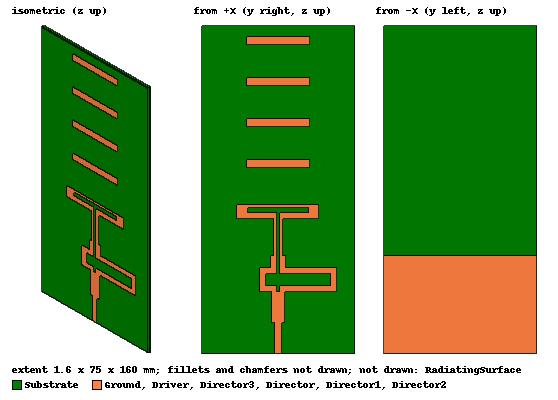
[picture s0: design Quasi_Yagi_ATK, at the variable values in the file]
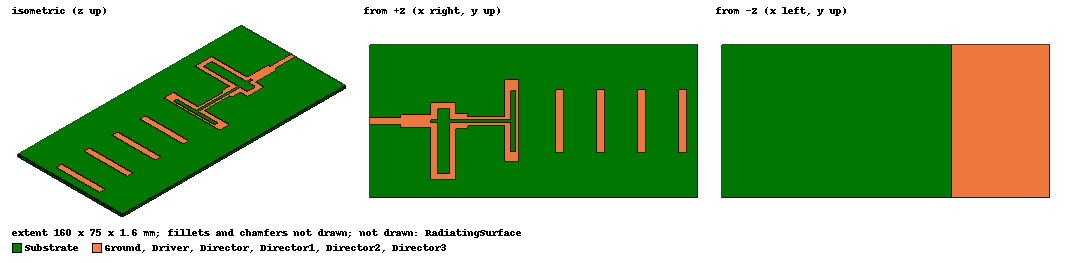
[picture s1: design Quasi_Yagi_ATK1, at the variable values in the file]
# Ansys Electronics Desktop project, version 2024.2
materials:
  vacuum: permittivity=1
  FR4_epoxy: permittivity=4.4 dielectric_loss_tangent=0.02

design Quasi_Yagi_ATK (HFSS, HFSS Hybrid Terminal Network, model units mm)
options: Allow_Material_Override Save_Adaptive_support_files open_region{BoundaryType=0 OpFreq=2.4GHz}
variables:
  # --Width Dimensions
  Wdir = 4mm
  Wdri = 3mm
  W1 = 3mm
  W2 = 6mm
  W3 = 3mm
  W4 = 3mm
  W5 = 3mm
  W6 = 1.5mm
  # --Length Dimensions
  Ldir = 15.5mm
  Ldri = 40mm
  L1 = 16.5mm
  L2 = 7.5mm
  L3 = 24mm
  L4 = 9mm
  L5 = 7.5mm
  # --Spacing Dimensions
  Sdir = 15mm
  Sref = 19.5mm
  Ssub = 7.5mm
  S5 = 1.5mm
  S6 = 1.5mm
  # --Substrate Dimensions
  Substrate_Th = 1.6mm
  Substrate_Width = 75mm
  Wg = 2.3mm
  Wdrif = 1.5mm
  t = 5.2mm
  L_ext_submm = 50mm
  Lin = 5*W1
  dist = Wdir*2.5
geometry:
  Substrate [FR4_epoxy] = box(corner=(0mm, -Substrate_Width/2, L_ext_submm+0.02), size=(-Substrate_Th, Substrate_Width, -(Ssub+Sdir+Sref+L5+L4+L1+5*W1+L_ext_submm+0.02)))
  Ground = rectangle(corner=(-Substrate_Th, -Substrate_Width/2, -(L5+L4+L1+5*W1)-Ssub-Sdir-Sref), y_size=Substrate_Width, z_size=(L5+L4+L1+5*W1))
  Director = rectangle(corner=(0mm, -Ldir, (-Wdir/2)-Ssub), y_size=2*Ldir, z_size=Wdir)
  Driver = rectangle(corner=(0mm, -Ldri/2, (-Wdri/2)-Ssub-Sdir), y_size=Ldri, z_size=Wdri)
  NewObject_V5RKLE = rectangle(corner=(0mm, -S6/2, (-Wdri/2)-Ssub-Sdir), y_size=S6, z_size=Wdri)
  NewObject_F6RTJB = rectangle(corner=(0mm, -(2*W6+S6)/2, -Ssub-Sdir-Sref), y_size=(2*W6+S6), z_size=Sref)
  NewObject_SG5QR2 = rectangle(corner=(0mm, -S6/2, -Ssub-Sdir-Sref), y_size=S6, z_size=Sref)
  NewObject_EMN5YW = rectangle(corner=(0mm, -(2*W5+S5)/2, (W3/2)-sSub-Sdir-Sref-L5), y_size=(2*W5+S5), z_size=L5-(W3/2))
  NewObject_7SITFQ = rectangle(corner=(0mm, -S5/2, -sSub-Sdir-Sref-L5), y_size=S5, z_size=L5)
  NewObject_45ZM98 = rectangle(corner=(0mm, -S5/2, (-W3/2)-sSub-Sdir-Sref-L5), y_size=S5, z_size=W3)
  NewObject_ZHL5UQ = rectangle(corner=(0mm, -(L2+W4/2), (-W3/2)-Ssub-Sdir-Sref-L5), y_size=L2+L3+2*W4, z_size=W3)
  NewObject_W50Y14 = rectangle(corner=(0mm, -(S5/2), (-W3/2)-Ssub-Sdir-Sref-L5-L4), y_size=S5, z_size=W3)
  NewObject_KIPWVM = rectangle(corner=(0mm, -(L2+W4/2), (-W3/2)-Ssub-Sdir-Sref-L5-L4), y_size=L2+L3+2*W4, z_size=W3)
  NewObject_EW9ZM6 = rectangle(corner=(0mm, -(L2+W4/2), (-W3/2)-Ssub-Sdir-Sref-L5-L4), y_size=W4, z_size=L2+1.5*W3)
  NewObject_6TZ5XM = rectangle(corner=(0mm, (L3+W4/2), (-W3/2)-Ssub-Sdir-Sref-L5-L4), y_size=W4, z_size=L2+1.5*W3)
  NewObject_ZHL5UQ.unite(NewObject_KIPWVM, NewObject_EW9ZM6, NewObject_6TZ5XM)
  NewObject_ZHL5UQ.subtract(NewObject_45ZM98, NewObject_W50Y14)
  NewObject_ZHL5UQ1 = rectangle(corner=(0mm, -(L2+W4/2), (-W3/2)-Ssub-Sdir-Sref-L5), y_size=L2+L3+2*W4, z_size=W3)
  NewObject_KIPWVM1 = rectangle(corner=(0mm, -(L2+W4/2), (-W3/2)-Ssub-Sdir-Sref-L5-L4), y_size=L2+L3+2*W4, z_size=W3)
  NewObject_EW9ZM7 = rectangle(corner=(0mm, -(L2+W4/2), (-W3/2)-Ssub-Sdir-Sref-L5-L4), y_size=W4, z_size=L2+1.5*W3)
  NewObject_6TZ5XM1 = rectangle(corner=(0mm, (L3+W4/2), (-W3/2)-Ssub-Sdir-Sref-L5-L4), y_size=W4, z_size=L2+1.5*W3)
  NewObject_ZHL5UQ1.unite(NewObject_KIPWVM1, NewObject_EW9ZM7, NewObject_6TZ5XM1)
  NewObject_45ZM99 = rectangle(corner=(0mm, -S5/2, (-W3/2)-sSub-Sdir-Sref-L5), y_size=S5, z_size=W3)
  NewObject_W50Y15 = rectangle(corner=(0mm, -(S5/2), (-W3/2)-Ssub-Sdir-Sref-L5-L4), y_size=S5, z_size=W3)
  NewObject_ZHL5UQ1.subtract(NewObject_45ZM99, NewObject_W50Y15)
  NewObject_ZHL5UQ.thicken(1mm)
  NewObject_ZHL5UQ.chamfer(Edges=NewObject_ZHL5UQ.edge(at (0.5, -9, -60), at (0.5, -9, -48), at (0.5, 28.5, -60), at (0.5, 28.5, -48)) LeftDistance=W4 RightDistance=W4 ChamferType=Symmetric ChamferAdditionalGeometryInfo{ChamferEdgeGeometryInfo{ChamferEdgeID=354 ChamferEdgeSense ChamferEdgeStart{X=4.8243679e-16mm Y=-9mm Z=-48mm} ChamferEdgeEnd{X=1mm Y=-9mm Z=-48mm} ChamferEdgeMid{X=0.5mm Y=-9mm Z=-48mm} ChamferEdgeMidTangent(1, -6.123234e-17, -1.6081226e-16)} ChamferEdgeGeometryInfo{ChamferEdgeID=355 ChamferEdgeSense ChamferEdgeStart{X=0mm Y=-9mm Z=-60mm} ChamferEdgeEnd{X=1mm Y=-9mm Z=-60mm} ChamferEdgeMid{X=0.5mm Y=-9mm Z=-60mm} ChamferEdgeMidTangent(1, -6.123234e-17, -1.6081226e-16)} ChamferEdgeGeometryInfo{ChamferEdgeID=358 ChamferEdgeSense ChamferEdgeStart{X=2.2962127e-15mm Y=28.5mm Z=-60mm} ChamferEdgeEnd{X=1mm Y=28.5mm Z=-60mm} ChamferEdgeMid{X=0.5mm Y=28.5mm Z=-60mm} ChamferEdgeMidTangent(1, -6.123234e-17, -1.6081226e-16)} ChamferEdgeGeometryInfo{ChamferEdgeID=359 ChamferEdgeSense ChamferEdgeStart{X=2.7786495e-15mm Y=28.5mm Z=-48mm} ChamferEdgeEnd{X=1mm Y=28.5mm Z=-48mm} ChamferEdgeMid{X=0.5mm Y=28.5mm Z=-48mm} ChamferEdgeMidTangent(1, -6.123234e-17, -1.6081226e-16)}})
  NewObject_ZHL5UQ.chamfer(Edges=NewObject_ZHL5UQ.edge(at (0.5, -0.75, -51), at (0.5, 0.75, -51), at (0.5, -0.75, -57), at (0.5, 0.75, -57)) LeftDistance=W3 RightDistance=W3 ChamferType=Symmetric ChamferAdditionalGeometryInfo{ChamferEdgeGeometryInfo{ChamferEdgeID=352 ChamferEdgeSense ChamferEdgeStart{X=5.051668e-16mm Y=-0.75mm Z=-51mm} ChamferEdgeEnd{X=1mm Y=-0.75mm Z=-51mm} ChamferEdgeMid{X=0.5mm Y=-0.75mm Z=-51mm} ChamferEdgeMidTangent(1, -6.123234e-17, -1.6081226e-16)} ChamferEdgeGeometryInfo{ChamferEdgeID=357 ChamferEdgeSense ChamferEdgeStart{X=9.876036e-16mm Y=-0.75mm Z=-57mm} ChamferEdgeEnd{X=1mm Y=-0.75mm Z=-57mm} ChamferEdgeMid{X=0.5mm Y=-0.75mm Z=-57mm} ChamferEdgeMidTangent(1, -6.123234e-17, -1.6081226e-16)} ChamferEdgeGeometryInfo{ChamferEdgeID=361 ChamferEdgeSense ChamferEdgeStart{X=5.9701531e-16mm Y=0.75mm Z=-51mm} ChamferEdgeEnd{X=1mm Y=0.75mm Z=-51mm} ChamferEdgeMid{X=0.5mm Y=0.75mm Z=-51mm} ChamferEdgeMidTangent(1, -6.123234e-17, -1.6081226e-16)} ChamferEdgeGeometryInfo{ChamferEdgeID=364 ChamferEdgeSense ChamferEdgeStart{X=1.0794521e-15mm Y=0.75mm Z=-57mm} ChamferEdgeEnd{X=1mm Y=0.75mm Z=-57mm} ChamferEdgeMid{X=0.5mm Y=0.75mm Z=-57mm} ChamferEdgeMidTangent(1, -6.123234e-17, -1.6081226e-16)}})
  NewObject_ZHL5UQ1.intersect(NewObject_ZHL5UQ)
  NewObject_VFZ2K0 = rectangle(corner=(0mm, -W2/2, -Ssub-Sdir-Sref-L5-L4-L1), y_size=W2, z_size=L1-(W3/2))
  NewObject_8FXIJ2 = rectangle(corner=(0mm, -W1/2, -5*W1-Ssub-Sdir-Sref-L5-L4-L1), y_size=W1, z_size=Lin)
  Driver.unite(NewObject_F6RTJB, NewObject_EMN5YW, NewObject_VFZ2K0, NewObject_8FXIJ2, NewObject_ZHL5UQ1)
  Driver.subtract(NewObject_V5RKLE, NewObject_SG5QR2, NewObject_7SITFQ)
  port1 = rectangle(corner=(0mm, -W1/2, -5*W1-Ssub-Sdir-Sref-L5-L4-L1), x_size=-Substrate_Th, y_size=W1)
  RadiatingSurface [vacuum] = region(absolute_offset=41.666667mm on all sides)
  Driver1 = rectangle(corner=(0mm, -Ldri/2, (Wdri/2)-Ssub-Sdir+Wg), y_size=Ldri, z_size=Wdrif)
  coordinate_system RelativeCS1 = origin=(0mm, -Ldri/2, -Ssub-Sdir+Wdri/2+Wg+Wdrif) x=(1mm, 0mm, 0mm) y=(0mm, 1mm, 0mm)
  Rectangle1 = rectangle(corner=(0mm, 0mm, 0mm), y_size=t, z_size=-Wdrif-Wg-Wdri) in RelativeCS1
  Rectangle2 = rectangle(corner=(0mm, 0mm, 0mm), y_size=t, z_size=-Wdrif-Wg-Wdri) in RelativeCS1
  Rectangle2.mirror(point=(0mm, 0mm, 0mm), normal=(0mm, 1mm, 0mm))
  Driver.unite(Driver1, Rectangle1, Rectangle2)
  Director1 = rectangle(corner=(0mm, -Ldir, (-Wdir/2)-Ssub+dist+dist), y_size=2*Ldir, z_size=Wdir)
  Director2 = rectangle(corner=(0mm, -Ldir, (-Wdir/2)-Ssub+2*dist + 2*dist), y_size=2*Ldir, z_size=Wdir)
  Director3 = rectangle(corner=(0mm, -Ldir, (-Wdir/2)-Ssub+3*dist + 3*dist), y_size=2*Ldir, z_size=Wdir)
  [Director, Director1, Director2, Director3].move(0mm, 0mm, 10mm)
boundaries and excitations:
  antennaMetal: Perfect E Objects=[Director, Driver]
  groundMetal: Perfect E Objects=Ground
  AutoOpen1: Radiation Objects=RadiatingSurface
  dirMetal: Perfect E Objects=[Director1, Director2, Director3]
  Driver_T1: Terminal port=1 Edges=Driver.edge(at (0, 0, -90)) TerminalResistance=50ohm
  1: Lumped Port Faces=port1.face LumpedPortType=Terminal Impedance=50ohm
  reference conductors: Ground
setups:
  ATK_Solution: HfssDriven Frequency=2.4GHz MaxDeltaS=0.02 MaximumPasses=15 MinimumPasses=1 MinimumConvergedPasses=1 PercentRefinement=30 BasisOrder=1 PortAccuracy=2 DrivenSolverType="Direct Solver" IESolverType=ACA
    sweep FF_Sweep: 1.2GHz to 3.6GHz, 3 points; disabled Type=Discrete SaveFields
    sweep SParam_Sweep: 1.2GHz to 3.6GHz, 100 points; Type=Interpolating InterpTolerance=0.5 InterpMaxSolns=250 PassivityErrorTolerance=0.0001
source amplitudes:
  1:1: 1 0deg
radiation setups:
  3D: Infinite Sphere Theta=0deg..180deg step 2deg Phi=-180deg..180deg step 2deg
  Elevation: Infinite Sphere Theta=-180deg..180deg step 1deg Phi=0deg..90deg step 90deg
  Azimuth: Infinite Sphere Theta=90deg..90deg step 0deg Phi=-180deg..180deg step 1deg
  ATK_2D: Infinite Sphere Theta=-180deg..180deg step 1deg Phi=0deg..90deg step 90deg
  ATK_3D: Infinite Sphere Theta=-180deg..180deg step 2deg Phi=0deg..180deg step 5deg
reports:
  ff_3D_GainTotal: dB(GainTotal) vs Phi, Theta on ATK_Solution : LastAdaptive, ATK_3D [Freq=2.4e+09]
  ff_2D_GainTotal: dB(GainTotal) vs Theta on ATK_Solution : LastAdaptive, ATK_2D [Phi=all Freq=2.4e+09]
  ff_2D_GainTotal_Stacked: dB(GainTotal) vs Theta on ATK_Solution : FF_Sweep, ATK_2D [Phi=all Freq=all]
  Return Loss: dB(St11) vs Freq on ATK_Solution : SParam_Sweep; dB(St11) vs Freq on ATK_Solution : SParam_Sweep [W2=all]; markers m1 at 2.2424242GHz, m2 at 2.2666667GHz, m3 at 2.8242424GHz, m4 at 2.841037GHz
  Input Impedance: St11 on ATK_Solution : SParam_Sweep [Freq=all]
  Gain Plot 1: GainTotal vs Theta, Phi on ATK_Solution : LastAdaptive, 3D [Freq=2.4GHz W2=4mm]
  Gain Plot 2: GainTotal vs Phi, Theta on ATK_Solution : LastAdaptive, 3D [Freq=2.4GHz W2=4mm]
  Gain Plot 3: dB(GainTotal) vs Theta on ATK_Solution : LastAdaptive, 3D [Phi=all Freq=2.4GHz W2=all]
  Gain Plot 4: dB(GainTotal) vs Phi, Theta on ATK_Solution : LastAdaptive, 3D [Freq=2.4GHz W2=4mm]
  Terminal S Parameter Plot 1: dB(St(Driver_T1,Driver_T1)) vs Freq on ATK_Solution : FF_Sweep [W2=all]

design Quasi_Yagi_ATK1 (HFSS, HFSS Hybrid Terminal Network, model units mm)
options: Allow_Material_Override Save_Adaptive_support_files open_region{BoundaryType=0 OpFreq=2.4GHz}
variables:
  # --Width Dimensions
  Wdir = 4mm
  Wdri = 3mm
  W1 = 3mm
  W2 = 6mm
  W3 = 3mm
  W4 = 3mm
  W5 = 3mm
  W6 = 1.5mm
  # --Length Dimensions
  Ldir = 15.5mm
  Ldri = 40mm
  L1 = 16.5mm
  L2 = 7.5mm
  L3 = 24mm
  L4 = 9mm
  L5 = 7.5mm
  # --Spacing Dimensions
  Sdir = 15mm
  Sref = 19.5mm
  Ssub = 7.5mm
  S5 = 1.5mm
  S6 = 1.5mm
  # --Substrate Dimensions
  Substrate_Th = 1.6mm
  Substrate_Width = 75mm
  Wg = 2.3mm
  Wdrif = 1.5mm
  t = 5.2mm
  L_ext_submm = 50mm
  Lin = 5*W1
  dist = Wdir*2.5
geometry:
  Substrate [FR4_epoxy] = box(corner=(0mm, -Substrate_Width/2, L_ext_submm+0.02), size=(-Substrate_Th, Substrate_Width, -(Ssub+Sdir+Sref+L5+L4+L1+5*W1+L_ext_submm+0.02)))
  Ground = rectangle(corner=(-Substrate_Th, -Substrate_Width/2, -(L5+L4+L1+5*W1)-Ssub-Sdir-Sref), y_size=Substrate_Width, z_size=(L5+L4+L1+5*W1))
  Director = rectangle(corner=(0mm, -Ldir, (-Wdir/2)-Ssub), y_size=2*Ldir, z_size=Wdir)
  Driver = rectangle(corner=(0mm, -Ldri/2, (-Wdri/2)-Ssub-Sdir), y_size=Ldri, z_size=Wdri)
  NewObject_V5RKLE = rectangle(corner=(0mm, -S6/2, (-Wdri/2)-Ssub-Sdir), y_size=S6, z_size=Wdri)
  NewObject_F6RTJB = rectangle(corner=(0mm, -(2*W6+S6)/2, -Ssub-Sdir-Sref), y_size=(2*W6+S6), z_size=Sref)
  NewObject_SG5QR2 = rectangle(corner=(0mm, -S6/2, -Ssub-Sdir-Sref), y_size=S6, z_size=Sref)
  NewObject_EMN5YW = rectangle(corner=(0mm, -(2*W5+S5)/2, (W3/2)-sSub-Sdir-Sref-L5), y_size=(2*W5+S5), z_size=L5-(W3/2))
  NewObject_7SITFQ = rectangle(corner=(0mm, -S5/2, -sSub-Sdir-Sref-L5), y_size=S5, z_size=L5)
  NewObject_45ZM98 = rectangle(corner=(0mm, -S5/2, (-W3/2)-sSub-Sdir-Sref-L5), y_size=S5, z_size=W3)
  NewObject_ZHL5UQ = rectangle(corner=(0mm, -(L2+W4/2), (-W3/2)-Ssub-Sdir-Sref-L5), y_size=L2+L3+2*W4, z_size=W3)
  NewObject_W50Y14 = rectangle(corner=(0mm, -(S5/2), (-W3/2)-Ssub-Sdir-Sref-L5-L4), y_size=S5, z_size=W3)
  NewObject_KIPWVM = rectangle(corner=(0mm, -(L2+W4/2), (-W3/2)-Ssub-Sdir-Sref-L5-L4), y_size=L2+L3+2*W4, z_size=W3)
  NewObject_EW9ZM6 = rectangle(corner=(0mm, -(L2+W4/2), (-W3/2)-Ssub-Sdir-Sref-L5-L4), y_size=W4, z_size=L2+1.5*W3)
  NewObject_6TZ5XM = rectangle(corner=(0mm, (L3+W4/2), (-W3/2)-Ssub-Sdir-Sref-L5-L4), y_size=W4, z_size=L2+1.5*W3)
  NewObject_ZHL5UQ.unite(NewObject_KIPWVM, NewObject_EW9ZM6, NewObject_6TZ5XM)
  NewObject_ZHL5UQ.subtract(NewObject_45ZM98, NewObject_W50Y14)
  NewObject_ZHL5UQ1 = rectangle(corner=(0mm, -(L2+W4/2), (-W3/2)-Ssub-Sdir-Sref-L5), y_size=L2+L3+2*W4, z_size=W3)
  NewObject_KIPWVM1 = rectangle(corner=(0mm, -(L2+W4/2), (-W3/2)-Ssub-Sdir-Sref-L5-L4), y_size=L2+L3+2*W4, z_size=W3)
  NewObject_EW9ZM7 = rectangle(corner=(0mm, -(L2+W4/2), (-W3/2)-Ssub-Sdir-Sref-L5-L4), y_size=W4, z_size=L2+1.5*W3)
  NewObject_6TZ5XM1 = rectangle(corner=(0mm, (L3+W4/2), (-W3/2)-Ssub-Sdir-Sref-L5-L4), y_size=W4, z_size=L2+1.5*W3)
  NewObject_ZHL5UQ1.unite(NewObject_KIPWVM1, NewObject_EW9ZM7, NewObject_6TZ5XM1)
  NewObject_45ZM99 = rectangle(corner=(0mm, -S5/2, (-W3/2)-sSub-Sdir-Sref-L5), y_size=S5, z_size=W3)
  NewObject_W50Y15 = rectangle(corner=(0mm, -(S5/2), (-W3/2)-Ssub-Sdir-Sref-L5-L4), y_size=S5, z_size=W3)
  NewObject_ZHL5UQ1.subtract(NewObject_45ZM99, NewObject_W50Y15)
  NewObject_ZHL5UQ.thicken(1mm)
  NewObject_ZHL5UQ.chamfer(Edges=NewObject_ZHL5UQ.edge(at (0.5, -9, -60), at (0.5, -9, -48), at (0.5, 28.5, -60), at (0.5, 28.5, -48)) LeftDistance=W4 RightDistance=W4 ChamferType=Symmetric ChamferAdditionalGeometryInfo{ChamferEdgeGeometryInfo{ChamferEdgeID=354 ChamferEdgeSense ChamferEdgeStart{X=4.8243679e-16mm Y=-9mm Z=-48mm} ChamferEdgeEnd{X=1mm Y=-9mm Z=-48mm} ChamferEdgeMid{X=0.5mm Y=-9mm Z=-48mm} ChamferEdgeMidTangent(1, -6.123234e-17, -1.6081226e-16)} ChamferEdgeGeometryInfo{ChamferEdgeID=355 ChamferEdgeSense ChamferEdgeStart{X=0mm Y=-9mm Z=-60mm} ChamferEdgeEnd{X=1mm Y=-9mm Z=-60mm} ChamferEdgeMid{X=0.5mm Y=-9mm Z=-60mm} ChamferEdgeMidTangent(1, -6.123234e-17, -1.6081226e-16)} ChamferEdgeGeometryInfo{ChamferEdgeID=358 ChamferEdgeSense ChamferEdgeStart{X=2.2962127e-15mm Y=28.5mm Z=-60mm} ChamferEdgeEnd{X=1mm Y=28.5mm Z=-60mm} ChamferEdgeMid{X=0.5mm Y=28.5mm Z=-60mm} ChamferEdgeMidTangent(1, -6.123234e-17, -1.6081226e-16)} ChamferEdgeGeometryInfo{ChamferEdgeID=359 ChamferEdgeSense ChamferEdgeStart{X=2.7786495e-15mm Y=28.5mm Z=-48mm} ChamferEdgeEnd{X=1mm Y=28.5mm Z=-48mm} ChamferEdgeMid{X=0.5mm Y=28.5mm Z=-48mm} ChamferEdgeMidTangent(1, -6.123234e-17, -1.6081226e-16)}})
  NewObject_ZHL5UQ.chamfer(Edges=NewObject_ZHL5UQ.edge(at (0.5, -0.75, -51), at (0.5, 0.75, -51), at (0.5, -0.75, -57), at (0.5, 0.75, -57)) LeftDistance=W3 RightDistance=W3 ChamferType=Symmetric ChamferAdditionalGeometryInfo{ChamferEdgeGeometryInfo{ChamferEdgeID=352 ChamferEdgeSense ChamferEdgeStart{X=5.051668e-16mm Y=-0.75mm Z=-51mm} ChamferEdgeEnd{X=1mm Y=-0.75mm Z=-51mm} ChamferEdgeMid{X=0.5mm Y=-0.75mm Z=-51mm} ChamferEdgeMidTangent(1, -6.123234e-17, -1.6081226e-16)} ChamferEdgeGeometryInfo{ChamferEdgeID=357 ChamferEdgeSense ChamferEdgeStart{X=9.876036e-16mm Y=-0.75mm Z=-57mm} ChamferEdgeEnd{X=1mm Y=-0.75mm Z=-57mm} ChamferEdgeMid{X=0.5mm Y=-0.75mm Z=-57mm} ChamferEdgeMidTangent(1, -6.123234e-17, -1.6081226e-16)} ChamferEdgeGeometryInfo{ChamferEdgeID=361 ChamferEdgeSense ChamferEdgeStart{X=5.9701531e-16mm Y=0.75mm Z=-51mm} ChamferEdgeEnd{X=1mm Y=0.75mm Z=-51mm} ChamferEdgeMid{X=0.5mm Y=0.75mm Z=-51mm} ChamferEdgeMidTangent(1, -6.123234e-17, -1.6081226e-16)} ChamferEdgeGeometryInfo{ChamferEdgeID=364 ChamferEdgeSense ChamferEdgeStart{X=1.0794521e-15mm Y=0.75mm Z=-57mm} ChamferEdgeEnd{X=1mm Y=0.75mm Z=-57mm} ChamferEdgeMid{X=0.5mm Y=0.75mm Z=-57mm} ChamferEdgeMidTangent(1, -6.123234e-17, -1.6081226e-16)}})
  NewObject_ZHL5UQ1.intersect(NewObject_ZHL5UQ)
  NewObject_VFZ2K0 = rectangle(corner=(0mm, -W2/2, -Ssub-Sdir-Sref-L5-L4-L1), y_size=W2, z_size=L1-(W3/2))
  NewObject_8FXIJ2 = rectangle(corner=(0mm, -W1/2, -5*W1-Ssub-Sdir-Sref-L5-L4-L1), y_size=W1, z_size=Lin)
  Driver.unite(NewObject_F6RTJB, NewObject_EMN5YW, NewObject_VFZ2K0, NewObject_8FXIJ2, NewObject_ZHL5UQ1)
  Driver.subtract(NewObject_V5RKLE, NewObject_SG5QR2, NewObject_7SITFQ)
  RadiatingSurface [vacuum] = region(absolute_offset=41.666667mm on all sides)
  Driver1 = rectangle(corner=(0mm, -Ldri/2, (Wdri/2)-Ssub-Sdir+Wg), y_size=Ldri, z_size=Wdrif)
  coordinate_system RelativeCS1 = origin=(0mm, -Ldri/2, -Ssub-Sdir+Wdri/2+Wg+Wdrif) x=(1mm, 0mm, 0mm) y=(0mm, 1mm, 0mm)
  Rectangle1 = rectangle(corner=(0mm, 0mm, 0mm), y_size=t, z_size=-Wdrif-Wg-Wdri) in RelativeCS1
  Rectangle2 = rectangle(corner=(0mm, 0mm, 0mm), y_size=t, z_size=-Wdrif-Wg-Wdri) in RelativeCS1
  Rectangle2.mirror(point=(0mm, 0mm, 0mm), normal=(0mm, 1mm, 0mm))
  Driver.unite(Driver1, Rectangle1, Rectangle2)
  Director1 = rectangle(corner=(0mm, -Ldir, (-Wdir/2)-Ssub+dist+dist), y_size=2*Ldir, z_size=Wdir)
  Director2 = rectangle(corner=(0mm, -Ldir, (-Wdir/2)-Ssub+2*dist + 2*dist), y_size=2*Ldir, z_size=Wdir)
  Director3 = rectangle(corner=(0mm, -Ldir, (-Wdir/2)-Ssub+3*dist + 3*dist), y_size=2*Ldir, z_size=Wdir)
  [Director, Director1, Director2, Director3].move(0mm, 0mm, 10mm)
  [Substrate, Ground, Director, Driver, Director1, Director2, Director3].rotate(axis=Y, angle=90deg)
  [Substrate, Ground, Director, Driver, Director1, Director2, Director3].rotate(axis=X, angle=180deg)
  [Substrate, Ground, Director, Driver, Director1, Director2, Director3].move(90mm, 0mm, 0mm)
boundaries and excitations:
  antennaMetal: Perfect E Objects=[Director, Driver]
  groundMetal: Perfect E Objects=Ground
  AutoOpen1: Radiation Objects=RadiatingSurface
  dirMetal: Perfect E Objects=[Director1, Director2, Director3]
  reference conductors: Ground
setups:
  ATK_Solution: HfssDriven Frequency=2.4GHz MaxDeltaE=0.1 MaximumPasses=15 MinimumPasses=1 MinimumConvergedPasses=1 PercentRefinement=30 BasisOrder=1 DrivenSolverType="Direct Solver" IESolverType=ACA
    sweep FF_Sweep: 1.2GHz to 3.6GHz, 3 points; disabled Type=Discrete SaveFields
    sweep SParam_Sweep: 1.2GHz to 3.6GHz, 100 points; Type=Interpolating InterpTolerance=0.5 InterpMaxSolns=250 PassivityErrorTolerance=0.0001
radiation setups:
  3D: Infinite Sphere Theta=0deg..180deg step 2deg Phi=-180deg..180deg step 2deg
  Elevation: Infinite Sphere Theta=-180deg..180deg step 1deg Phi=0deg..90deg step 90deg
  Azimuth: Infinite Sphere Theta=90deg..90deg step 0deg Phi=-180deg..180deg step 1deg
  ATK_2D: Infinite Sphere Theta=-180deg..180deg step 1deg Phi=0deg..90deg step 90deg
  ATK_3D: Infinite Sphere Theta=-180deg..180deg step 2deg Phi=0deg..180deg step 5deg
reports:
  ff_3D_GainTotal: dB(GainTotal) vs Phi, Theta on ATK_Solution : LastAdaptive, ATK_3D [Freq=2.4e+09]
  ff_2D_GainTotal: dB(GainTotal) vs Theta on ATK_Solution : LastAdaptive, ATK_2D [Phi=all Freq=2.4e+09]
  ff_2D_GainTotal_Stacked: dB(GainTotal) vs Theta on ATK_Solution : FF_Sweep, ATK_2D [Phi=all Freq=all]
  Return Loss: dB(St11) vs Freq on ATK_Solution : SParam_Sweep; dB(St11) vs Freq on ATK_Solution : SParam_Sweep [W2=all]; markers m1 at 2.2424242GHz, m2 at 2.2666667GHz, m3 at 2.8242424GHz, m4 at 2.841037GHz
  Input Impedance: St11 on ATK_Solution : SParam_Sweep [Freq=all]
  Gain Plot 1: GainTotal vs Theta, Phi on ATK_Solution : LastAdaptive, 3D [Freq=2.4GHz W2=4mm]
  Gain Plot 2: GainTotal vs Phi, Theta on ATK_Solution : LastAdaptive, 3D [Freq=2.4GHz W2=4mm]
  Gain Plot 3: dB(GainTotal) vs Theta on ATK_Solution : LastAdaptive, 3D [Phi=all Freq=2.4GHz W2=all]
  Gain Plot 4: dB(GainTotal) vs Phi, Theta on ATK_Solution : LastAdaptive, 3D [Freq=2.4GHz W2=4mm]
  Terminal S Parameter Plot 1: dB(St(Driver_T1,Driver_T1)) vs Freq on ATK_Solution : FF_Sweep [W2=all]
